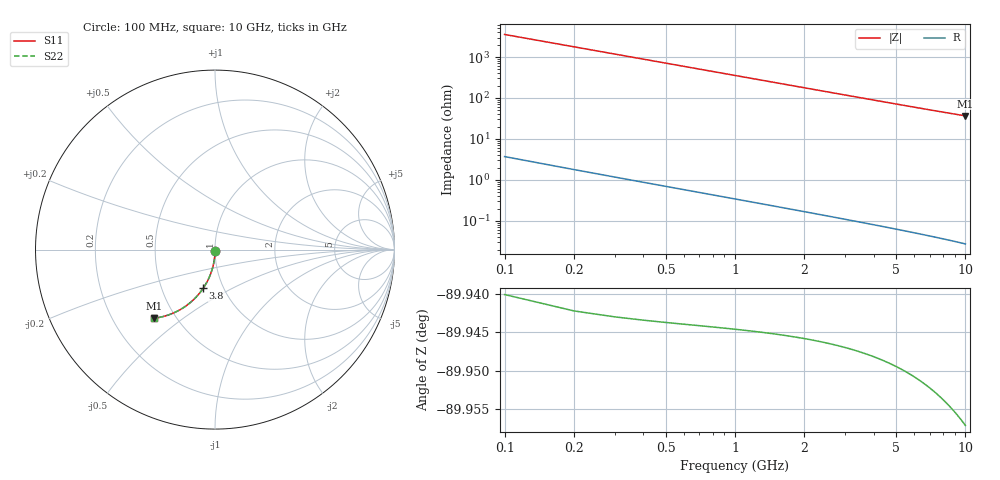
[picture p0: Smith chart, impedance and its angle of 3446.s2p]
# Hz S RI R 50.00
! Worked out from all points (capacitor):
!   100 points, 100 MHz to 10 GHz, reference 50 ohm
!   read as one part in shunt: C = 447 fF near 100 MHz
!   lowest |Z| = 36.7 ohm at 10 GHz (marker M1)
!   S11 on the Smith chart (normalised r, x): 100 MHz: 1.00, -0.01; 3.8 GHz: 0.80, -0.37; 10 GHz: 0.38, -0.39
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1e8  0.000272 -0.00612  0.9996 -0.00794  0.9996 -0.00794  0.000272 -0.00612
2e8  0.000122 -0.0122  0.9995 -0.0159  0.9995 -0.0159  0.000122 -0.0122
3e8  -0.000126 -0.0183  0.9992 -0.0238  0.9992 -0.0238  -0.000126 -0.0183
4e8  -0.000471 -0.0245  0.9988 -0.0317  0.9988 -0.0317  -0.000471 -0.0245
5e8  -0.000914 -0.0306  0.9984 -0.0396  0.9984 -0.0396  -0.000914 -0.0306
6e8  -0.00145 -0.0366  0.9978 -0.0476  0.9978 -0.0476  -0.00145 -0.0366
7e8  -0.00209 -0.0427  0.9972 -0.0555  0.9972 -0.0555  -0.00209 -0.0427
8e8  -0.00282 -0.0488  0.9964 -0.0633  0.9964 -0.0633  -0.00282 -0.0488
9e8  -0.00365 -0.0548  0.9955 -0.0712  0.9955 -0.0712  -0.00365 -0.0548
1.1e9  -0.00559 -0.0669  0.9935 -0.0869  0.9935 -0.0869  -0.00559 -0.0669
1.4e9  -0.0092 -0.0848  0.9898 -0.1103  0.9898 -0.1103  -0.0092 -0.0848
1.8e9  -0.0153 -0.1083  0.9835 -0.1411  0.9835 -0.1411  -0.0153 -0.1083
2.1e9  -0.0209 -0.1256  0.9777 -0.1639  0.9777 -0.1639  -0.0209 -0.1256
2.5e9  -0.0294 -0.1482  0.9688 -0.1937  0.9688 -0.1937  -0.0294 -0.1482
2.9e9  -0.0394 -0.17  0.9585 -0.2229  0.9585 -0.2229  -0.0394 -0.17
3.4e9  -0.0535 -0.1961  0.9439 -0.2582  0.9439 -0.2582  -0.0535 -0.1961
3.8e9  -0.0661 -0.216  0.9307 -0.2854  0.9307 -0.2854  -0.0661 -0.216
4.4e9  -0.087 -0.244  0.909 -0.3245  0.909 -0.3245  -0.087 -0.244
5.1e9  -0.1139 -0.2735  0.881 -0.367  0.881 -0.367  -0.1139 -0.2735
6.7e9  -0.1831 -0.3279  0.8085 -0.4513  0.8085 -0.4513  -0.1831 -0.3279
8.4e9  -0.2626 -0.3651  0.7244 -0.5208  0.7244 -0.5208  -0.2626 -0.3651
1e10  -0.3377 -0.3821  0.6439 -0.5687  0.6439 -0.5687  -0.3377 -0.3821
